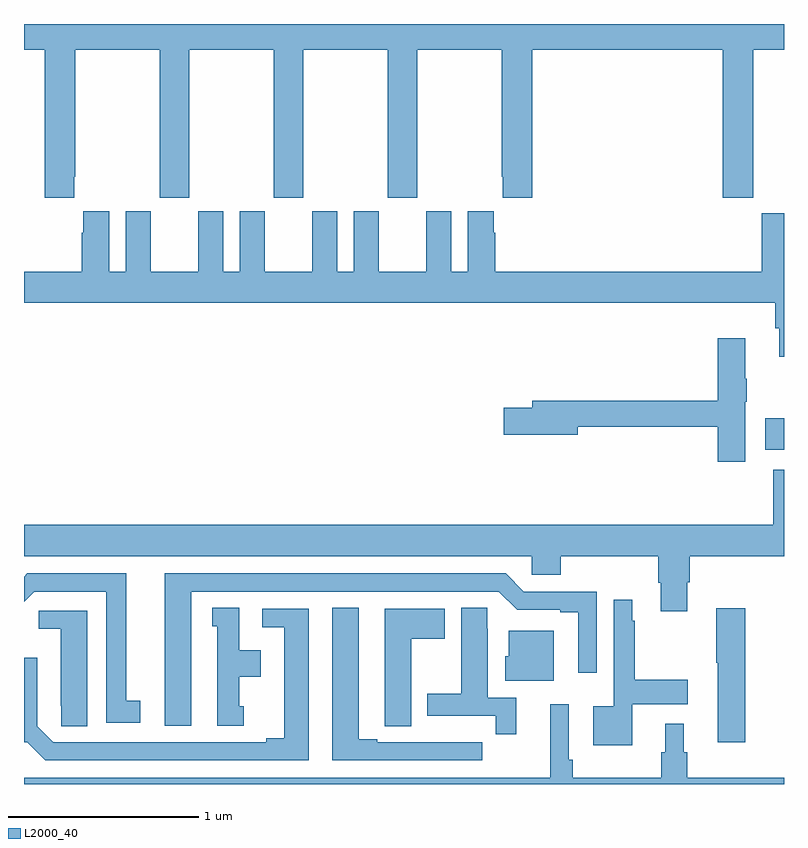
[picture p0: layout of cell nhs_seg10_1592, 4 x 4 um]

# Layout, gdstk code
import gdstk
lib = gdstk.Library(unit=1e-6, precision=1e-09)
def R(c, l, rs):  # rectangles x0, y0, x1, y1
    for r in rs: c.add(gdstk.rectangle(r[:2], r[2:], *l))
def P(c, l, *ps):  # polygons
    for p in ps: c.add(gdstk.Polygon(p, *l))
L2000_40 = (2000, 40)

nhs_seg10_1592 = lib.new_cell('nhs_seg10_1592')
R(nhs_seg10_1592, L2000_40, [(198.9,1250.258,199,1250.424)])
P(nhs_seg10_1592, L2000_40, [(195.265,1251.697),(195.27,1251.697),(195.27,1252.364),(195.715,1252.364),(195.715,1251.585),(195.87,1251.585),(195.87,1252.364),(196.315,1252.364),(196.315,1251.585),(196.47,1251.585),(196.47,1252.364),(196.915,1252.364),(196.915,1251.585),(197.07,1251.585),(197.07,1252.364),(197.515,1252.364),(197.515,1251.697),(197.519,1251.697),(197.519,1251.585),(197.675,1251.585),(197.675,1252.364),(198.677,1252.364),(198.677,1251.585),(198.837,1251.585),(198.837,1252.364),(199,1252.364),(199,1252.5),(195,1252.5),(195,1252.364),(195.11,1252.364),(195.11,1251.585),(195.265,1251.585)],
  [(199,1251.505),(198.884,1251.505),(198.884,1251.196),(197.48,1251.196),(197.48,1251.401),(197.473,1251.401),(197.473,1251.514),(197.336,1251.514),(197.336,1251.196),(197.248,1251.196),(197.248,1251.514),(197.117,1251.514),(197.117,1251.196),(196.867,1251.196),(196.867,1251.514),(196.736,1251.514),(196.736,1251.196),(196.648,1251.196),(196.648,1251.514),(196.517,1251.514),(196.517,1251.196),(196.267,1251.196),(196.267,1251.514),(196.136,1251.514),(196.136,1251.196),(196.048,1251.196),(196.048,1251.514),(195.917,1251.514),(195.917,1251.196),(195.667,1251.196),(195.667,1251.514),(195.536,1251.514),(195.536,1251.196),(195.448,1251.196),(195.448,1251.514),(195.311,1251.514),(195.311,1251.401),(195.305,1251.401),(195.305,1251.196),(195,1251.196),(195,1251.032),(198.955,1251.032),(198.955,1250.898),(198.974,1250.898),(198.974,1250.748),(199,1250.748)],
  [(198.796,1250.512),(198.804,1250.512),(198.804,1250.632),(198.796,1250.632),(198.796,1250.845),(198.65,1250.845),(198.65,1250.516),(197.675,1250.516),(197.675,1250.48),(197.526,1250.48),(197.526,1250.338),(197.914,1250.338),(197.914,1250.38),(198.65,1250.38),(198.65,1250.196),(198.796,1250.196)],
  [(198.49,1249.563),(198.503,1249.563),(198.503,1249.7),(199,1249.7),(199,1250.155),(198.944,1250.155),(198.944,1249.864),(195,1249.864),(195,1249.7),(197.673,1249.7),(197.673,1249.602),(197.825,1249.602),(197.825,1249.7),(198.338,1249.7),(198.338,1249.558),(198.35,1249.558),(198.35,1249.41),(198.49,1249.41)],
  [(195.88,1249.512),(197.499,1249.512),(197.595,1249.416),(197.822,1249.416),(197.822,1249.404),(197.918,1249.404),(197.918,1249.086),(198.015,1249.086),(198.015,1249.512),(197.631,1249.512),(197.535,1249.608),(195.74,1249.608),(195.74,1248.807),(195.88,1248.807)],
  [(195.613,1248.938),(195.538,1248.938),(195.538,1249.608),(195.018,1249.608),(195,1249.59),(195,1249.458),(195.054,1249.512),(195.434,1249.512),(195.434,1248.822),(195.613,1248.822)],
  [(198.202,1248.92),(198.493,1248.92),(198.493,1249.05),(198.214,1249.05),(198.214,1249.358),(198.202,1249.358),(198.202,1249.471),(198.105,1249.471),(198.105,1248.91),(197.996,1248.91),(197.996,1248.704),(198.202,1248.704)],
  [(196.156,1248.909),(196.132,1248.909),(196.132,1249.064),(196.246,1249.064),(196.246,1249.204),(196.132,1249.204),(196.132,1249.427),(195.992,1249.427),(195.992,1249.329),(196.016,1249.329),(196.016,1248.807),(196.156,1248.807)],
  [(197.413,1248.72),(197.3,1248.72),(197.3,1248.721),(197.134,1248.721),(197.134,1248.72),(196.858,1248.72),(196.858,1248.735),(196.762,1248.735),(196.762,1249.427),(196.622,1249.427),(196.622,1248.624),(197.413,1248.624)],
  [(197.591,1248.954),(197.44,1248.954),(197.44,1249.316),(197.439,1249.316),(197.439,1249.427),(197.3,1249.427),(197.3,1248.975),(197.123,1248.975),(197.123,1248.858),(197.482,1248.858),(197.482,1248.762),(197.591,1248.762)],
  [(198.797,1249.426),(198.643,1249.426),(198.643,1249.138),(198.65,1249.138),(198.65,1248.72),(198.797,1248.72)],
  [(197.038,1249.264),(197.215,1249.264),(197.215,1249.423),(196.898,1249.423),(196.898,1248.913),(196.899,1248.913),(196.899,1248.805),(197.038,1248.805)],
  [(196.498,1249.422),(196.254,1249.422),(196.254,1249.326),(196.37,1249.326),(196.37,1248.74),(196.274,1248.74),(196.274,1248.72),(195.153,1248.72),(195.069,1248.804),(195.069,1249.165),(195,1249.165),(195,1248.72),(195.017,1248.72),(195.113,1248.624),(196.498,1248.624)],
  [(195.334,1249.413),(195.078,1249.413),(195.078,1249.316),(195.194,1249.316),(195.194,1248.913),(195.195,1248.913),(195.195,1248.805),(195.334,1248.805)],
  [(197.788,1249.306),(197.552,1249.306),(197.552,1249.173),(197.534,1249.173),(197.534,1249.043),(197.788,1249.043)],
  [(199,1248.532),(198.491,1248.532),(198.491,1248.666),(198.472,1248.666),(198.472,1248.817),(198.374,1248.817),(198.374,1248.666),(198.355,1248.666),(198.355,1248.532),(197.888,1248.532),(197.888,1248.628),(197.868,1248.628),(197.868,1248.919),(197.771,1248.919),(197.771,1248.532),(195,1248.532),(195,1248.5),(199,1248.5)])

lib.write_gds('nhs_seg10_1592.gds')
